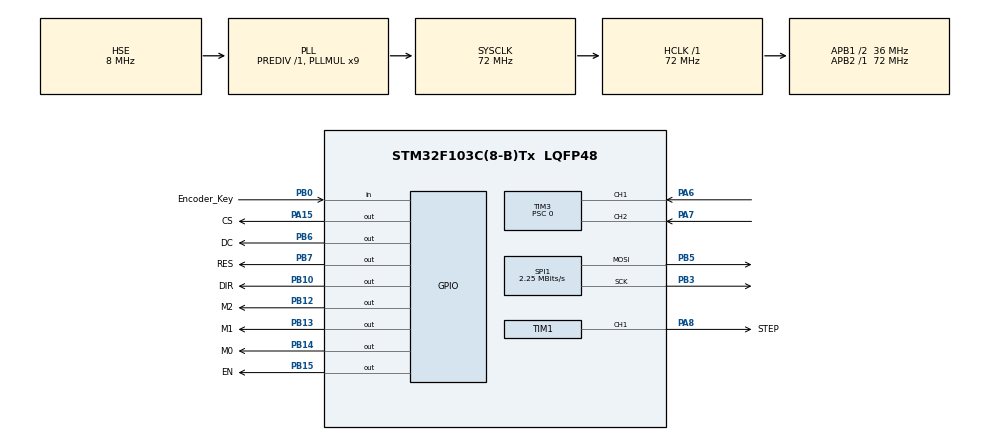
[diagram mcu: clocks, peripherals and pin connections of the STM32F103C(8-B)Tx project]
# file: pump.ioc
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Dma.Request0=SPI1_TX
Dma.SPI1_TX.0.Direction=DMA_MEMORY_TO_PERIPH
Dma.SPI1_TX.0.Instance=DMA1_Channel3
Dma.SPI1_TX.0.MemDataAlignment=DMA_MDATAALIGN_BYTE
Dma.SPI1_TX.0.MemInc=DMA_MINC_ENABLE
Dma.SPI1_TX.0.Mode=DMA_NORMAL
Dma.SPI1_TX.0.PeriphDataAlignment=DMA_PDATAALIGN_BYTE
Dma.SPI1_TX.0.PeriphInc=DMA_PINC_DISABLE
Dma.SPI1_TX.0.Priority=DMA_PRIORITY_VERY_HIGH
FREERTOS.Tasks01=defaultTask,24,128,StartDefaultTask,Default,NULL,Dynamic,NULL,NULL;UI_Task,40,128,start_UITask,As external,NULL,Dynamic,NULL,NULL;Encoder_Task,32,128,Start_EncoderTask,As external,NULL,Dynamic,NULL,NULL
FREERTOS.Timers01=OLEDUpdate_Timer,OLEDUpdate_Callback,osTimerPeriodic,Default,NULL,Dynamic,NULL
Mcu.Family=STM32F1
Mcu.Name=STM32F103C(8-B)Tx
Mcu.Package=LQFP48
NVIC.DMA1_Channel3_IRQn=true\:5\:0\:false\:false\:true\:true\:false\:true\:true
NVIC.PriorityGroup=NVIC_PRIORITYGROUP_4
NVIC.TIM1_UP_IRQn=true\:5\:0\:false\:false\:true\:true\:true\:true\:true
NVIC.TIM4_IRQn=true\:15\:0\:false\:false\:true\:false\:false\:true\:true
NVIC.TimeBase=TIM4_IRQn
NVIC.TimeBaseIP=TIM4
PA13.Mode=Serial_Wire
PA13.Signal=SYS_JTMS-SWDIO
PA14.Mode=Serial_Wire
PA14.Signal=SYS_JTCK-SWCLK
PA15.GPIO_Label=CS
PA15.GPIO_Speed=GPIO_SPEED_FREQ_HIGH
PA15.Signal=GPIO_Output
PA6.Signal=S_TIM3_CH1
PA7.Signal=S_TIM3_CH2
PA8.GPIO_Label=STEP
PA8.GPIO_Speed=GPIO_SPEED_FREQ_HIGH
PA8.Signal=S_TIM1_CH1
PB0.GPIO_Label=Encoder_Key
PB0.Signal=GPIO_Input
PB10.GPIO_Label=DIR
PB10.GPIO_Speed=GPIO_SPEED_FREQ_HIGH
PB10.Signal=GPIO_Output
PB12.GPIO_Label=M2
PB12.PinState=GPIO_PIN_RESET
PB12.Signal=GPIO_Output
PB13.GPIO_Label=M1
PB13.PinState=GPIO_PIN_RESET
PB13.Signal=GPIO_Output
PB14.GPIO_Label=M0
PB14.PinState=GPIO_PIN_RESET
PB14.Signal=GPIO_Output
PB15.GPIO_Label=EN
PB15.PinState=GPIO_PIN_SET
PB15.Signal=GPIO_Output
PB3.Mode=TX_Only_Simplex_Unidirect_Master
PB3.Signal=SPI1_SCK
PB5.Mode=TX_Only_Simplex_Unidirect_Master
PB5.Signal=SPI1_MOSI
PB6.GPIO_Label=DC
PB6.Signal=GPIO_Output
PB7.GPIO_Label=RES
PB7.GPIO_Speed=GPIO_SPEED_FREQ_HIGH
PB7.Signal=GPIO_Output
PD0-OSC_IN.Mode=HSE-External-Oscillator
PD0-OSC_IN.Signal=RCC_OSC_IN
PD1-OSC_OUT.Mode=HSE-External-Oscillator
PD1-OSC_OUT.Signal=RCC_OSC_OUT
ProjectManager.HeapSize=0x200
ProjectManager.StackSize=0x400
ProjectManager.TargetToolchain=MDK-ARM V5.32
RCC.AHBFreq_Value=72000000
RCC.APB1CLKDivider=RCC_HCLK_DIV2
RCC.APB1Freq_Value=36000000
RCC.APB1TimFreq_Value=72000000
RCC.APB2Freq_Value=72000000
RCC.APB2TimFreq_Value=72000000
RCC.HCLKFreq_Value=72000000
RCC.PLLMUL=RCC_PLL_MUL9
RCC.PLLSourceVirtual=RCC_PLLSOURCE_HSE
RCC.SYSCLKFreq_VALUE=72000000
RCC.SYSCLKSource=RCC_SYSCLKSOURCE_PLLCLK
RCC.USBFreq_Value=72000000
SH.S_TIM1_CH1.0=TIM1_CH1,PWM Generation1 CH1
SH.S_TIM3_CH1.0=TIM3_CH1,Encoder_Interface
SH.S_TIM3_CH2.0=TIM3_CH2,Encoder_Interface
SPI1.BaudRatePrescaler=SPI_BAUDRATEPRESCALER_32
SPI1.CalculateBaudRate=2.25 MBits/s
SPI1.Direction=SPI_DIRECTION_2LINES
SPI1.Mode=SPI_MODE_MASTER
SPI1.VirtualType=VM_MASTER
TIM1.AutoReloadPreload=TIM_AUTORELOAD_PRELOAD_ENABLE
TIM1.Channel-PWM\ Generation1\ CH1=TIM_CHANNEL_1
TIM1.Period=10000-1
TIM1.Prescaler=72
TIM1.Pulse-PWM\ Generation1\ CH1=5000-1
TIM1.RepetitionCounter=0
TIM3.ClockDivision=TIM_CLOCKDIVISION_DIV1
TIM3.EncoderMode=TIM_ENCODERMODE_TI12
TIM3.IC1Filter=15
TIM3.IC1Prescaler=TIM_ICPSC_DIV4
TIM3.IC2Filter=15
TIM3.IC2Prescaler=TIM_ICPSC_DIV4
TIM3.Prescaler=0
VP_FREERTOS_VS_CMSIS_V2.Mode=CMSIS_V2
VP_SYS_VS_tim4.Mode=TIM4
VP_TIM1_VS_ClockSourceINT.Mode=Internal
board=custom

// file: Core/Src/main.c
/* USER CODE BEGIN Header */
/**
  ******************************************************************************
  * @file           : main.c
  * @brief          : Main program body
  ******************************************************************************
  * @attention
  *
  * Copyright (c) 2025 STMicroelectronics.
  * All rights reserved.
  *
  * This software is licensed under terms that can be found in the LICENSE file
  * in the root directory of this software component.
  * If no LICENSE file comes with this software, it is provided AS-IS.
  *
  ******************************************************************************
  */
/* USER CODE END Header */
#include "main.h"
#include "cmsis_os.h"
#include "dma.h"
#include "spi.h"
#include "tim.h"
#include "gpio.h"

/* USER CODE BEGIN Includes */
#include "stm32f1xx_it.h"
#include "OLED.h"
/* USER CODE END Includes */

void SystemClock_Config(void);
void MX_FREERTOS_Init(void);

int main(void)
{

  /* MCU Configuration--------------------------------------------------------*/

  /* Reset of all peripherals, Initializes the Flash interface and the Systick. */
  HAL_Init();

  /* Configure the system clock */
  SystemClock_Config();

  /* Initialize all configured peripherals */
  MX_GPIO_Init();
  MX_DMA_Init();
  MX_SPI1_Init();
  MX_TIM1_Init();
  MX_TIM3_Init();
  /* USER CODE BEGIN 2 */
  OLED_Init();
  OLED_Clear();

  /* USER CODE END 2 */

  /* Init scheduler */
  osKernelInitialize();

  /* Call init function for freertos objects (in cmsis_os2.c) */
  MX_FREERTOS_Init();

  /* Start scheduler */
  osKernelStart();

  /* We should never get here as control is now taken by the scheduler */

  /* Infinite loop */
  while (1)
  {

  }
}

void SystemClock_Config(void)
{
  RCC_OscInitTypeDef RCC_OscInitStruct = {0};
  RCC_ClkInitTypeDef RCC_ClkInitStruct = {0};

  /** Initializes the RCC Oscillators according to the specified parameters
  * in the RCC_OscInitTypeDef structure.
  */
  RCC_OscInitStruct.OscillatorType = RCC_OSCILLATORTYPE_HSE;
  RCC_OscInitStruct.HSEState = RCC_HSE_ON;
  RCC_OscInitStruct.HSEPredivValue = RCC_HSE_PREDIV_DIV1;
  RCC_OscInitStruct.HSIState = RCC_HSI_ON;
  RCC_OscInitStruct.PLL.PLLState = RCC_PLL_ON;
  RCC_OscInitStruct.PLL.PLLSource = RCC_PLLSOURCE_HSE;
  RCC_OscInitStruct.PLL.PLLMUL = RCC_PLL_MUL9;
  if (HAL_RCC_OscConfig(&RCC_OscInitStruct) != HAL_OK)
  {
    Error_Handler();
  }

  /** Initializes the CPU, AHB and APB buses clocks
  */
  RCC_ClkInitStruct.ClockType = RCC_CLOCKTYPE_HCLK|RCC_CLOCKTYPE_SYSCLK
                              |RCC_CLOCKTYPE_PCLK1|RCC_CLOCKTYPE_PCLK2;
  RCC_ClkInitStruct.SYSCLKSource = RCC_SYSCLKSOURCE_PLLCLK;
  RCC_ClkInitStruct.AHBCLKDivider = RCC_SYSCLK_DIV1;
  RCC_ClkInitStruct.APB1CLKDivider = RCC_HCLK_DIV2;
  RCC_ClkInitStruct.APB2CLKDivider = RCC_HCLK_DIV1;

  if (HAL_RCC_ClockConfig(&RCC_ClkInitStruct, FLASH_LATENCY_2) != HAL_OK)
  {
    Error_Handler();
  }
}

void HAL_TIM_PeriodElapsedCallback(TIM_HandleTypeDef *htim)
{
  /* USER CODE BEGIN Callback 0 */
  if (htim->Instance == TIM1) {
    HAL_TIM1_PeriodElapsedCallback(htim);
  }
  /* USER CODE END Callback 0 */
  if (htim->Instance == TIM4) {
    HAL_IncTick();
  }
}

void Error_Handler(void)
{
  __disable_irq();
  while (1)
  {
  }
}

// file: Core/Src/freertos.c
/* USER CODE BEGIN Header */
/**
  ******************************************************************************
  * File Name          : freertos.c
  * Description        : Code for freertos applications
  ******************************************************************************
  * @attention
  *
  * Copyright (c) 2025 STMicroelectronics.
  * All rights reserved.
  *
  * This software is licensed under terms that can be found in the LICENSE file
  * in the root directory of this software component.
  * If no LICENSE file comes with this software, it is provided AS-IS.
  *
  ******************************************************************************
  */
/* USER CODE END Header */

#include "FreeRTOS.h"
#include "task.h"
#include "main.h"
#include "cmsis_os.h"

/* USER CODE BEGIN Includes */
#include "OLED.h"
#include "Motor.h"
/* USER CODE END Includes */

/* USER CODE BEGIN Variables */
extern TIM_HandleTypeDef htim1;
/* USER CODE END Variables */
/* Definitions for defaultTask */
osThreadId_t defaultTaskHandle;
const osThreadAttr_t defaultTask_attributes = {
  .name = "defaultTask",
  .stack_size = 128 * 4,
  .priority = (osPriority_t) osPriorityNormal,
};
/* Definitions for UI_Task */
osThreadId_t UI_TaskHandle;
const osThreadAttr_t UI_Task_attributes = {
  .name = "UI_Task",
  .stack_size = 128 * 4,
  .priority = (osPriority_t) osPriorityHigh,
};
/* Definitions for Encoder_Task */
osThreadId_t Encoder_TaskHandle;
const osThreadAttr_t Encoder_Task_attributes = {
  .name = "Encoder_Task",
  .stack_size = 128 * 4,
  .priority = (osPriority_t) osPriorityAboveNormal,
};
/* Definitions for OLEDUpdate_Timer */
osTimerId_t OLEDUpdate_TimerHandle;
const osTimerAttr_t OLEDUpdate_Timer_attributes = {
  .name = "OLEDUpdate_Timer"
};

void StartDefaultTask(void *argument);
extern void start_UITask(void *argument);
extern void Start_EncoderTask(void *argument);
void OLEDUpdate_Callback(void *argument);

void MX_FREERTOS_Init(void); /* (MISRA C 2004 rule 8.1) */

void MX_FREERTOS_Init(void) {

  /* Create the timer(s) */
  /* creation of OLEDUpdate_Timer */
  OLEDUpdate_TimerHandle = osTimerNew(OLEDUpdate_Callback, osTimerPeriodic, NULL, &OLEDUpdate_Timer_attributes);

  /* Create the thread(s) */
  /* creation of defaultTask */
  defaultTaskHandle = osThreadNew(StartDefaultTask, NULL, &defaultTask_attributes);

  /* creation of UI_Task */
  UI_TaskHandle = osThreadNew(start_UITask, NULL, &UI_Task_attributes);

  /* creation of Encoder_Task */
  Encoder_TaskHandle = osThreadNew(Start_EncoderTask, NULL, &Encoder_Task_attributes);

}

void StartDefaultTask(void *argument)
{
  /* USER CODE BEGIN StartDefaultTask */
  osTimerStart(OLEDUpdate_TimerHandle, 10);

  osDelay(3000);
  Motor_Init();
  Motor_SetMode(Motor_QuantitaveMode);
  Motor_SetSpeed(60);
  Motor_SetQuantitave_ByStep(200*32);
  /* Infinite loop */
  for(;;)
  {

  }
  /* USER CODE END StartDefaultTask */
}

/* OLEDUpdate_Callback function */
void OLEDUpdate_Callback(void *argument)
{
  /* USER CODE BEGIN OLEDUpdate_Callback */
  // OLED_update();
  /* USER CODE END OLEDUpdate_Callback */
}
